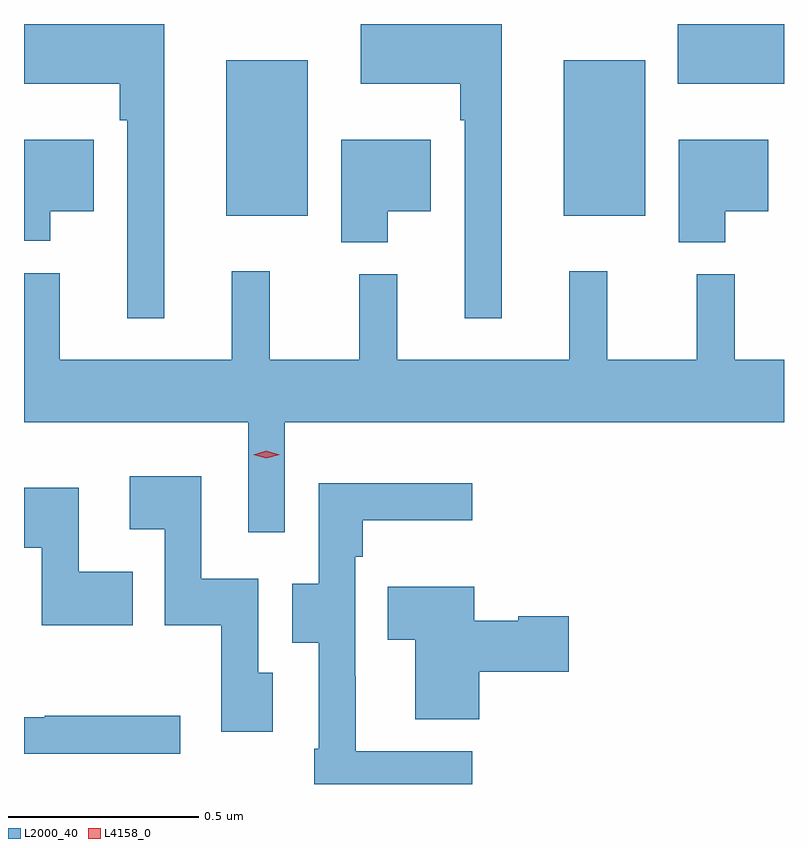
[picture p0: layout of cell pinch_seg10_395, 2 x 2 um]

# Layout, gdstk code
import gdstk
lib = gdstk.Library(unit=1e-6, precision=1e-09)
def R(c, l, rs):  # rectangles x0, y0, x1, y1
    for r in rs: c.add(gdstk.rectangle(r[:2], r[2:], *l))
def P(c, l, *ps):  # polygons
    for p in ps: c.add(gdstk.Polygon(p, *l))
L2000_40 = (2000, 40)
L4158_0 = (4158, 0)

pinch_seg10_395 = lib.new_cell('pinch_seg10_395')
R(pinch_seg10_395, L2000_40, [(546.449,1278.215,546.664,1278.625), (547.337,1278.215,547.552,1278.625), (547.638,1278.563,547.917,1278.72)])
P(pinch_seg10_395, L2000_40, [(547.174,1278.72),(546.803,1278.72),(546.803,1278.563),(547.065,1278.563),(547.065,1278.467),(547.077,1278.467),(547.077,1277.946),(547.174,1277.946)],
  [(546.286,1278.72),(545.917,1278.72),(545.917,1278.563),(546.169,1278.563),(546.169,1278.467),(546.189,1278.467),(546.189,1277.946),(546.286,1277.946)],
  [(546.874,1278.227),(546.988,1278.227),(546.988,1278.415),(546.752,1278.415),(546.752,1278.146),(546.874,1278.146)],
  [(547.762,1278.227),(547.876,1278.227),(547.876,1278.415),(547.64,1278.415),(547.64,1278.146),(547.762,1278.146)],
  [(545.986,1278.227),(546.1,1278.227),(546.1,1278.415),(545.917,1278.415),(545.917,1278.149),(545.986,1278.149)],
  [(546.603,1277.672),(547.917,1277.672),(547.917,1277.836),(547.787,1277.836),(547.787,1278.061),(547.687,1278.061),(547.687,1277.836),(547.452,1277.836),(547.452,1278.07),(547.352,1278.07),(547.352,1277.836),(546.899,1277.836),(546.899,1278.061),(546.799,1278.061),(546.799,1277.836),(546.564,1277.836),(546.564,1278.07),(546.464,1278.07),(546.464,1277.836),(546.011,1277.836),(546.011,1278.064),(545.917,1278.064),(545.917,1277.672),(546.507,1277.672),(546.507,1277.382),(546.603,1277.382)],
  [(546.571,1277.013),(546.534,1277.013),(546.534,1277.26),(546.384,1277.26),(546.384,1277.53),(546.195,1277.53),(546.195,1277.39),(546.288,1277.39),(546.288,1277.138),(546.436,1277.138),(546.436,1276.857),(546.571,1276.857)],
  [(547.096,1276.806),(546.79,1276.806),(546.79,1277.003),(546.789,1277.003),(546.789,1277.318),(546.809,1277.318),(546.809,1277.414),(547.096,1277.414),(547.096,1277.512),(546.693,1277.512),(546.693,1277.247),(546.623,1277.247),(546.623,1277.092),(546.693,1277.092),(546.693,1276.813),(546.681,1276.813),(546.681,1276.72),(547.096,1276.72)],
  [(546.203,1277.278),(546.061,1277.278),(546.061,1277.5),(545.917,1277.5),(545.917,1277.342),(545.964,1277.342),(545.964,1277.138),(546.203,1277.138)],
  [(547.115,1277.015),(547.351,1277.015),(547.351,1277.162),(547.218,1277.162),(547.218,1277.149),(547.102,1277.149),(547.102,1277.239),(546.874,1277.239),(546.874,1277.099),(546.947,1277.099),(546.947,1276.891),(547.115,1276.891)],
  [(546.328,1276.899),(545.971,1276.899),(545.971,1276.896),(545.917,1276.896),(545.917,1276.799),(546.328,1276.799)])
P(pinch_seg10_395, L4158_0, [(546.555,1277.577),(546.52,1277.587),(546.52,1277.587),(546.52,1277.587),(546.555,1277.597),(546.59,1277.587),(546.59,1277.587),(546.59,1277.587)])

lib.write_gds('pinch_seg10_395.gds')
